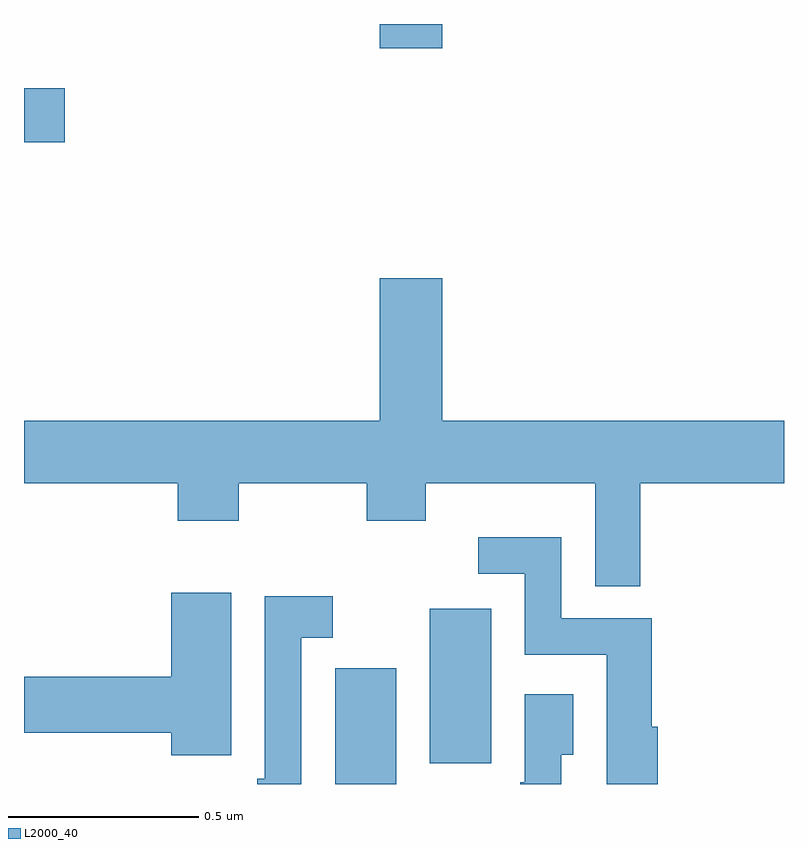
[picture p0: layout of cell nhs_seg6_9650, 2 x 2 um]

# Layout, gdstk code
import gdstk
lib = gdstk.Library(unit=1e-6, precision=1e-09)
def R(c, l, rs):  # rectangles x0, y0, x1, y1
    for r in rs: c.add(gdstk.rectangle(r[:2], r[2:], *l))
def P(c, l, *ps):  # polygons
    for p in ps: c.add(gdstk.Polygon(p, *l))
L2000_40 = (2000, 40)

nhs_seg6_9650 = lib.new_cell('nhs_seg6_9650')
R(nhs_seg6_9650, L2000_40, [(236.819,990.5,236.98,990.804), (237.068,990.555,237.229,990.961), (236,992.189,236.107,992.331), (236.936,992.436,237.1,992.5)])
P(nhs_seg6_9650, L2000_40, [(237.622,991.292),(238,991.292),(238,991.456),(237.1,991.456),(237.1,991.831),(236.936,991.831),(236.936,991.456),(236,991.456),(236,991.292),(236.405,991.292),(236.405,991.193),(236.565,991.193),(236.565,991.292),(236.902,991.292),(236.902,991.193),(237.057,991.193),(237.057,991.292),(237.503,991.292),(237.503,991.021),(237.622,991.021)],
  [(237.668,990.651),(237.652,990.651),(237.652,990.936),(237.414,990.936),(237.414,991.15),(237.195,991.15),(237.195,991.053),(237.318,991.053),(237.318,990.84),(237.533,990.84),(237.533,990.5),(237.668,990.5)],
  [(236.545,991.003),(236.387,991.003),(236.387,990.782),(236,990.782),(236,990.635),(236.387,990.635),(236.387,990.576),(236.545,990.576)],
  [(236.73,990.885),(236.812,990.885),(236.812,990.994),(236.634,990.994),(236.634,990.514),(236.614,990.514),(236.614,990.5),(236.73,990.5)],
  [(237.414,990.577),(237.445,990.577),(237.445,990.736),(237.318,990.736),(237.318,990.505),(237.306,990.505),(237.306,990.5),(237.414,990.5)])

lib.write_gds('nhs_seg6_9650.gds')
